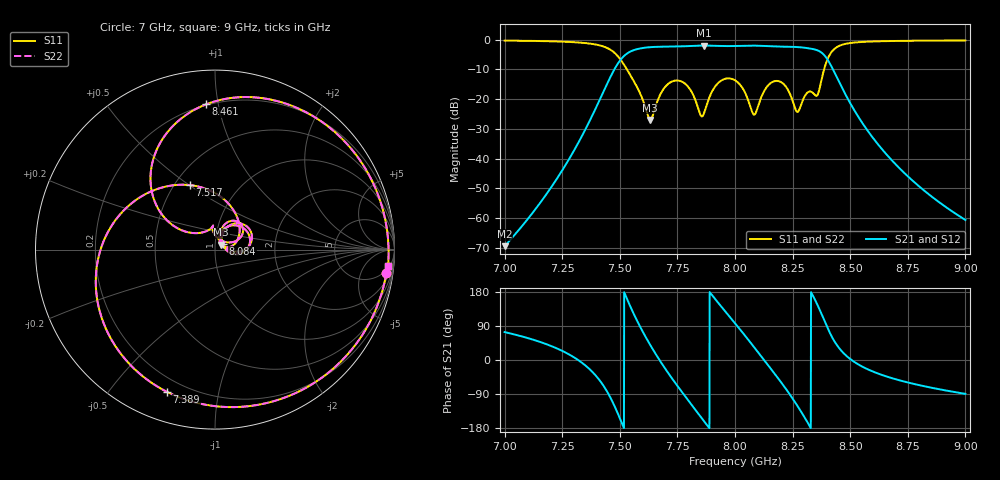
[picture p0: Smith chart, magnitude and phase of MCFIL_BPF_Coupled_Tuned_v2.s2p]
! Created Fri Apr  5 20:46:54 2024
# hz S db R 50
! 2 Port Network Data from SP1.SP block
! freq  dbS11  angS11  dbS21  angS21  dbS12  angS12  dbS22  angS22
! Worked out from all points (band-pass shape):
!   2001 points, 7 GHz to 9 GHz, reference 50 ohm
!   highest |S21| = -2.00 dB at 7.865 GHz (marker M1); lowest = -69.4 dB at 7 GHz (marker M2)
!   |S21| within 3 dB of the highest: 7.526 GHz to 8.385 GHz (859 MHz wide, 10.8 % of centre)
!   lowest |S11| = -27.0 dB at 7.632 GHz (marker M3), VSWR 1.09, Z = 53.5 + j3 ohm
!   |S11| at or under -10 dB: 7.531 GHz to 8.387 GHz (855.8 MHz wide, 10.8 % of centre)
!   |S22| runs from -27.0 to -0.3 dB; largest |S21 - S12| = 0
!   S11 on the Smith chart (normalised r, x): 7 GHz: 4, -14; 7.389 GHz: 0.13, -0.71; 7.517 GHz: 0.60, +0.50; 8.084 GHz: 1.09, +0.07; 8.461 GHz: 0.19, +0.92; 9 GHz: 6, -19
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7e9  -0.32 -7.7  -69.41 73.7  -69.41 73.7  -0.32 -7.7
7.196e9  -0.54 -40.0  -50.32 38.4  -50.32 38.4  -0.54 -40.0
7.334e9  -1.04 -80.8  -32.64 -6.5  -32.64 -6.5  -1.04 -80.8
7.389e9  -1.55 -108.6  -24.15 -36.6  -24.15 -36.6  -1.55 -108.6
7.459e9  -3.38 -168.1  -12.60 -98.9  -12.60 -98.9  -3.38 -168.1
7.517e9  -8.28 111.3  -5.59 -178.3  -5.59 -178.3  -8.28 111.3
7.577e9  -16.26 29.8  -3.15 101.1  -3.15 101.1  -16.26 29.8
7.632e9  -26.97 38.6  -2.53 39.7  -2.53 39.7  -26.97 38.6
7.667e9  -19.93 70.9  -2.40 4.9  -2.40 4.9  -19.93 70.9
7.768e9  -14.07 11.0  -2.26 -83.1  -2.26 -83.1  -14.07 11.0
7.865e9  -24.83 45.8  -2.00 -161.1  -2.00 -161.1  -24.83 45.8
7.925e9  -14.72 52.6  -2.10 152.5  -2.10 152.5  -14.72 52.6
8e9  -13.66 12.4  -2.14 97.0  -2.14 97.0  -13.66 12.4
8.084e9  -25.23 36.0  -2.02 33.0  -2.02 33.0  -25.23 36.0
8.151e9  -14.84 61.4  -2.23 -19.6  -2.23 -19.6  -14.84 61.4
8.228e9  -16.62 24.1  -2.38 -82.2  -2.38 -82.2  -16.62 24.1
8.271e9  -24.31 59.9  -2.49 -121.1  -2.49 -121.1  -24.31 59.9
8.334e9  -17.65 95.1  -3.10 174.6  -3.10 174.6  -17.65 95.1
8.384e9  -10.76 149.5  -4.94 109.5  -4.94 109.5  -10.76 149.5
8.461e9  -1.82 93.5  -15.63 24.8  -15.63 24.8  -1.82 93.5
8.667e9  -0.48 34.2  -39.39 -45.3  -39.39 -45.3  -0.48 34.2
9e9  -0.27 -5.5  -60.60 -89.4  -60.60 -89.4  -0.27 -5.5
